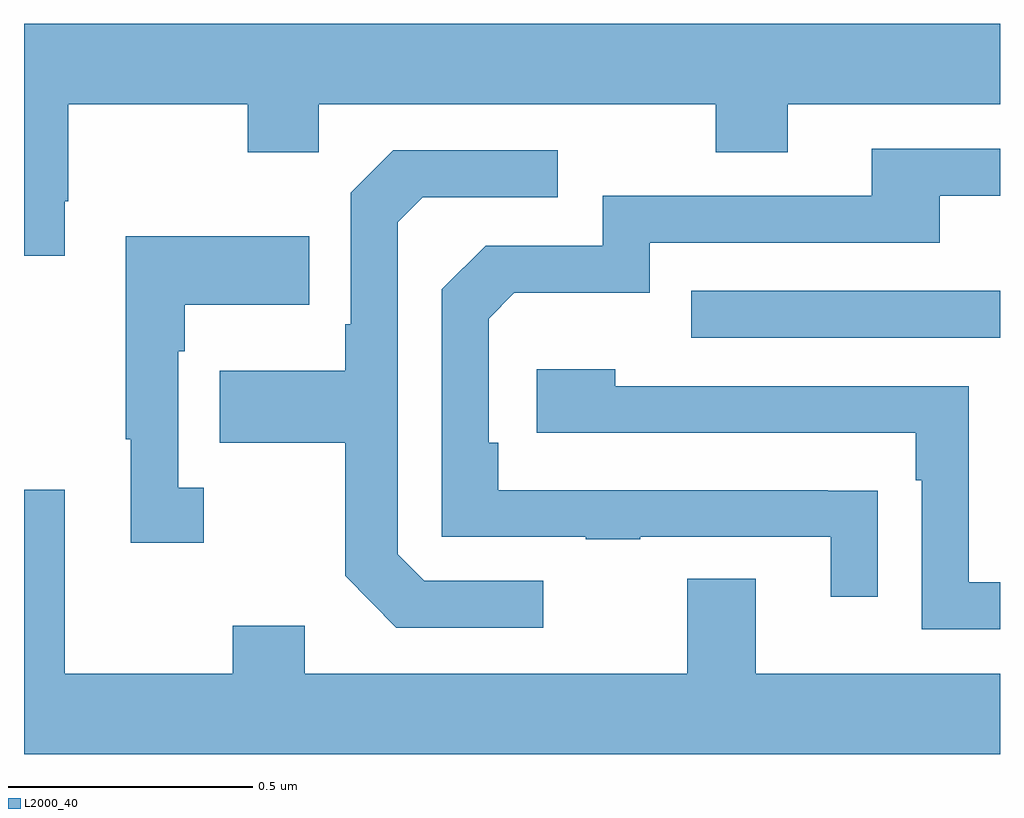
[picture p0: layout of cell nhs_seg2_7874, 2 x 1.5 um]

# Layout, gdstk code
import gdstk
lib = gdstk.Library(unit=1e-6, precision=1e-09)
def R(c, l, rs):  # rectangles x0, y0, x1, y1
    for r in rs: c.add(gdstk.rectangle(r[:2], r[2:], *l))
def P(c, l, *ps):  # polygons
    for p in ps: c.add(gdstk.Polygon(p, *l))
L2000_40 = (2000, 40)

nhs_seg2_7874 = lib.new_cell('nhs_seg2_7874')
R(nhs_seg2_7874, L2000_40, [(210.367,653.817,211,653.913)])
P(nhs_seg2_7874, L2000_40, [(209.083,654.097),(209.091,654.097),(209.091,654.296),(209.458,654.296),(209.458,654.197),(209.604,654.197),(209.604,654.296),(210.418,654.296),(210.418,654.197),(210.565,654.197),(210.565,654.296),(211,654.296),(211,654.46),(209,654.46),(209,653.985),(209.083,653.985)],
  [(210.749,653.504),(210.647,653.504),(210.647,653.505),(209.972,653.505),(209.972,653.602),(209.952,653.602),(209.952,653.856),(210.005,653.909),(210.282,653.909),(210.282,654.012),(210.877,654.012),(210.877,654.108),(211,654.108),(211,654.204),(210.737,654.204),(210.737,654.108),(210.186,654.108),(210.186,654.006),(209.946,654.006),(209.856,653.916),(209.856,653.409),(210.151,653.409),(210.151,653.404),(210.263,653.404),(210.263,653.409),(210.653,653.409),(210.653,653.286),(210.749,653.286)],
  [(210.064,653.319),(209.82,653.319),(209.766,653.373),(209.766,654.054),(209.817,654.105),(210.094,654.105),(210.094,654.201),(209.757,654.201),(209.67,654.114),(209.67,653.845),(209.658,653.845),(209.658,653.749),(209.401,653.749),(209.401,653.602),(209.658,653.602),(209.658,653.329),(209.763,653.223),(210.064,653.223)],
  [(209.368,653.51),(209.316,653.51),(209.316,653.789),(209.329,653.789),(209.329,653.885),(209.585,653.885),(209.585,654.025),(209.208,654.025),(209.208,653.609),(209.219,653.609),(209.219,653.397),(209.368,653.397)],
  [(211,653.316),(210.936,653.316),(210.936,653.718),(210.212,653.718),(210.212,653.752),(210.051,653.752),(210.051,653.622),(210.827,653.622),(210.827,653.525),(210.84,653.525),(210.84,653.22),(211,653.22)],
  [(211,653.128),(210.499,653.128),(210.499,653.323),(210.359,653.323),(210.359,653.128),(209.575,653.128),(209.575,653.227),(209.428,653.227),(209.428,653.128),(209.083,653.128),(209.083,653.506),(209,653.506),(209,652.964),(211,652.964)])

lib.write_gds('nhs_seg2_7874.gds')
